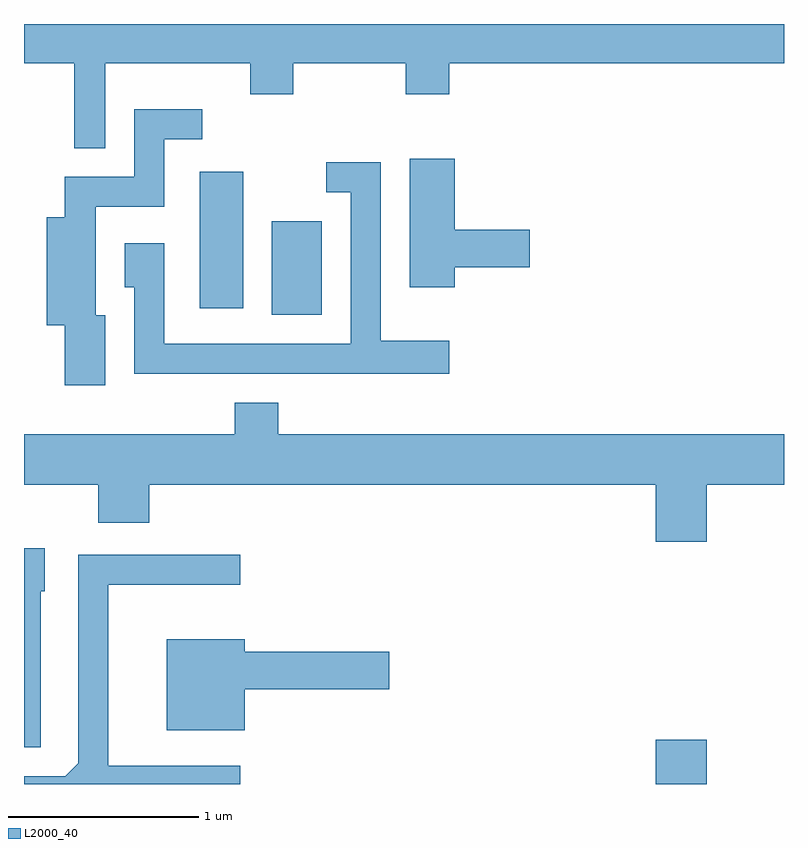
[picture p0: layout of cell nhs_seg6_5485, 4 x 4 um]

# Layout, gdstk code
import gdstk
lib = gdstk.Library(unit=1e-6, precision=1e-09)
def R(c, l, rs):  # rectangles x0, y0, x1, y1
    for r in rs: c.add(gdstk.rectangle(r[:2], r[2:], *l))
def P(c, l, *ps):  # polygons
    for p in ps: c.add(gdstk.Polygon(p, *l))
L2000_40 = (2000, 40)

nhs_seg6_5485 = lib.new_cell('nhs_seg6_5485')
R(nhs_seg6_5485, L2000_40, [(354.936,1626.162,355.204,1626.394), (352.916,1628.631,353.179,1629.124), (352.536,1628.666,352.764,1629.384)])
P(nhs_seg6_5485, L2000_40, [(352.039,1629.956),(352.801,1629.956),(352.801,1629.791),(353.029,1629.791),(353.029,1629.956),(353.621,1629.956),(353.621,1629.791),(353.849,1629.791),(353.849,1629.956),(355.611,1629.956),(355.611,1630.162),(351.611,1630.162),(351.611,1629.956),(351.876,1629.956),(351.876,1629.508),(352.039,1629.508)],
  [(352.039,1628.629),(351.989,1628.629),(351.989,1629.201),(352.349,1629.201),(352.349,1629.556),(352.548,1629.556),(352.548,1629.714),(352.191,1629.714),(352.191,1629.359),(351.826,1629.359),(351.826,1629.144),(351.731,1629.144),(351.731,1628.576),(351.826,1628.576),(351.826,1628.261),(352.039,1628.261)],
  [(353.879,1628.881),(354.274,1628.881),(354.274,1629.079),(353.879,1629.079),(353.879,1629.454),(353.641,1629.454),(353.641,1628.776),(353.879,1628.776)],
  [(353.849,1628.494),(353.489,1628.494),(353.489,1629.434),(353.203,1629.434),(353.203,1629.276),(353.331,1629.276),(353.331,1628.479),(352.349,1628.479),(352.349,1629.009),(352.141,1629.009),(352.141,1628.776),(352.191,1628.776),(352.191,1628.321),(353.849,1628.321)],
  [(355.204,1627.736),(355.611,1627.736),(355.611,1628.004),(352.949,1628.004),(352.949,1628.169),(352.721,1628.169),(352.721,1628.004),(351.611,1628.004),(351.611,1627.736),(352.001,1627.736),(352.001,1627.536),(352.269,1627.536),(352.269,1627.736),(354.936,1627.736),(354.936,1627.436),(355.204,1627.436)],
  [(351.699,1627.176),(351.719,1627.176),(351.719,1627.404),(351.611,1627.404),(351.611,1626.356),(351.699,1626.356)],
  [(352.748,1626.259),(352.054,1626.259),(352.054,1627.211),(352.748,1627.211),(352.748,1627.369),(351.896,1627.369),(351.896,1626.272),(351.829,1626.204),(351.611,1626.204),(351.611,1626.162),(352.748,1626.162)],
  [(352.774,1626.661),(353.534,1626.661),(353.534,1626.859),(352.774,1626.859),(352.774,1626.924),(352.361,1626.924),(352.361,1626.446),(352.774,1626.446)])

lib.write_gds('nhs_seg6_5485.gds')
